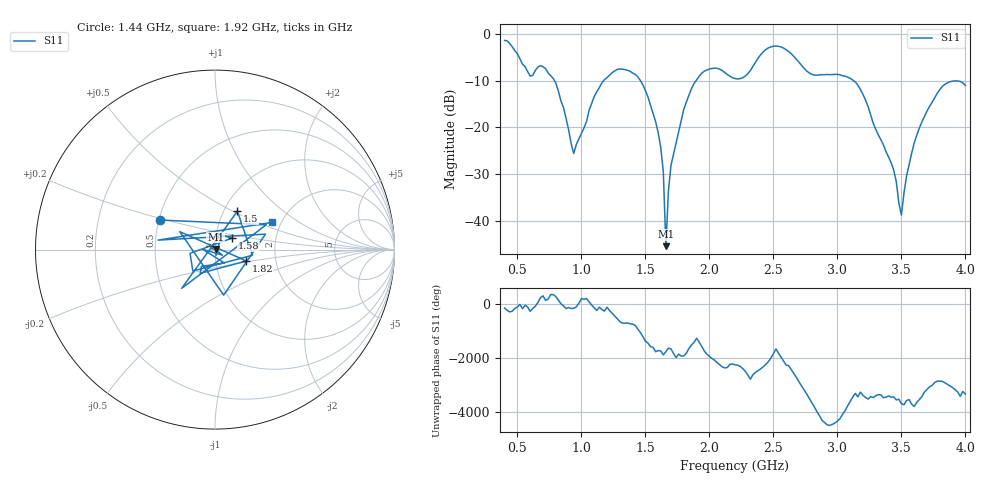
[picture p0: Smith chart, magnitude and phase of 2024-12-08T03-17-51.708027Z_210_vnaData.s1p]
!Created with skrf (http://scikit-rf.org).
# Hz S RI R 50.0
!freq ReS11 ImS11
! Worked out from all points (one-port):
!   181 points, 400 MHz to 4 GHz, reference 50 ohm
!   lowest |S11| = -45.4 dB at 1.66 GHz (marker M1), VSWR 1.01, Z = 50.4 + j0.302 ohm
!   |S11| at or under -10 dB: 788.9 MHz to 1.175 GHz (385.7 MHz wide, 39.3 % of centre); 1.461 GHz to 1.896 GHz (435.7 MHz wide, 26 % of centre); 3.126 GHz to end of sweep
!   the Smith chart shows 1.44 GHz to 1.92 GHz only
!   S11 on the Smith chart (normalised r, x): 1.44 GHz: 0.51, +0.19; 1.5 GHz: 1.16, +0.53; 1.58 GHz: 1.20, +0.16; 1.82 GHz: 1.41, -0.18; 1.92 GHz: 1.79, +0.62
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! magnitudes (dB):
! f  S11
! 400 MHz  -1.4
! 600 MHz  -9.0
! 720 MHz  -7.5
! 860 MHz  -15.8
! 940 MHz  -25.6
! 1.12 GHz  -12.4
! 1.3 GHz  -7.5
! 1.44 GHz  -9.2
! 1.5 GHz  -12.1
! 1.58 GHz  -18.8
! 1.64 GHz  -29.5
! 1.66 GHz  -45.4
! 1.68 GHz  -33.6
! 1.7 GHz  -28.1
! 1.76 GHz  -20.8
! 1.82 GHz  -14.6
! 1.92 GHz  -9.1
! 2.2 GHz  -9.6
! 2.48 GHz  -2.8
! 2.66 GHz  -4.8
! 2.8 GHz  -8.7
! 3.1 GHz  -9.5
! 3.42 GHz  -27.6
! 3.5 GHz  -38.8
! 3.56 GHz  -28.1
! 3.64 GHz  -20.2
! 3.8 GHz  -11.9
! 4 GHz  -11.1
